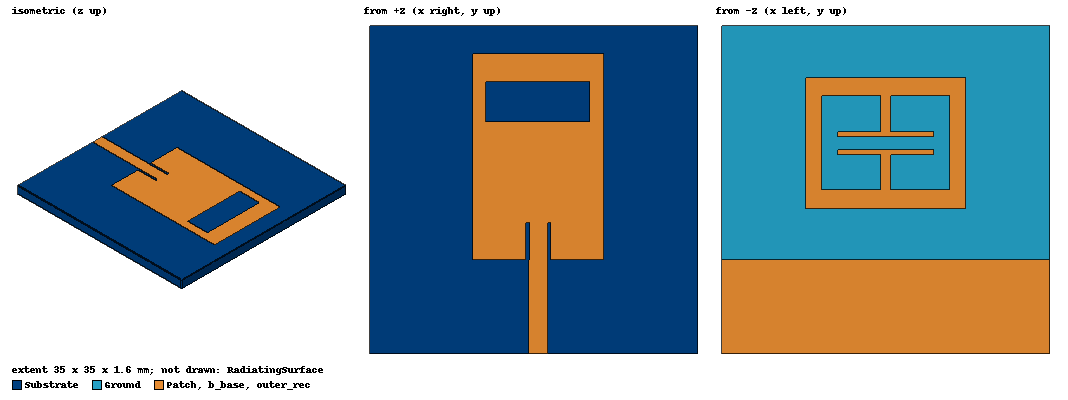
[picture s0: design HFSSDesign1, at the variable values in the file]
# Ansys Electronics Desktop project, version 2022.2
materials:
  vacuum: permittivity=1
  FR4_epoxy: permittivity=4.4 dielectric_loss_tangent=0.02
  glass_PTFEreinf: permittivity=2.5 dielectric_loss_tangent=0.002
  epoxy_Kevlar_xy: permittivity=3.6
  polystyrene: permittivity=2.6 conductivity=1e-16
  bakelite: permittivity=4.8 conductivity=1e-09 dielectric_loss_tangent=0.002
  copper: permeability=0.999991 conductivity=58000000

design HFSSDesign1 (HFSS, DrivenModal, model units mm)
options: Calculate_Lossy_Dielectrics Save_Adaptive_support_files
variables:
  inset_width = 14mm
  inset_length = 22mm
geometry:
  Ground = rectangle(corner=(0mm, 0mm, 0mm), x_size=35mm, y_size=35mm)
  Substrate [FR4_epoxy] = box(corner=(0mm, 0mm, 0mm), size=(35mm, 35mm, 1.6mm))
  Patch = rectangle(corner=(11mm, 10mm, 1.6mm), x_size=14mm, y_size=22mm)
  FEED = rectangle(corner=(17mm, 0mm, 1.6mm), x_size=2mm, y_size=14mm)
  Rectangle1 = rectangle(corner=(17mm, 0mm, 1.6mm), z_size=-1.6mm, x_size=2mm)
  RadiatingSurface [vacuum] = region(absolute_offset=28.571429mm on all sides)
  Rectangle2 = rectangle(corner=(7.75mm, 10mm, 1mm), x_size=2.45mm, y_size=4mm)
  Patch.subtract(Rectangle2)
  Patch.unite(FEED)
  b_base = rectangle(corner=(0mm, 0mm, 0mm), x_size=35mm, y_size=10mm)
  outer_rec = rectangle(corner=(9mm, 15.5mm, 0mm), x_size=17mm, y_size=14mm)
  inner_rec = rectangle(corner=(10.7mm, 17.45mm, 0mm), x_size=13.6mm, y_size=10.1mm)
  feed1 = rectangle(corner=(17mm, 17.45mm, 0mm), x_size=1mm, y_size=3.8mm)
  feed2 = rectangle(corner=(17mm, 23.7mm, 0mm), x_size=1mm, y_size=3.8mm)
  strip1 = rectangle(corner=(12.4mm, 21.25mm, 0mm), x_size=10.2mm, y_size=0.5mm)
  strip2 = rectangle(corner=(12.4mm, 23.2mm, 0mm), x_size=10.2mm, y_size=0.5mm)
  feed1.unite(strip1)
  feed2.unite(strip2)
  outer_rec.subtract(inner_rec)
  outer_rec.unite(feed2, feed1)
  Rectangle3 = rectangle(corner=(17mm, 10mm, 1mm), x_size=-0.35mm, y_size=3.928mm)
  Rectangle4 = rectangle(corner=(19mm, 10mm, 1mm), x_size=0.35mm, y_size=3.928mm)
  Patch.subtract(Rectangle3)
  Patch.subtract(Rectangle4)
  Rectangle6 = rectangle(corner=(19mm, 10mm, 1.6mm), x_size=0.35mm, y_size=3.928mm)
  Rectangle7 = rectangle(corner=(16.68mm, 10mm, 1.6mm), x_size=0.35mm, y_size=3.928mm)
  Patch.subtract(Rectangle7)
  Patch.subtract(Rectangle6)
  Rectangle8 = rectangle(corner=(12.4mm, 24.75mm, 1.6mm), x_size=11.1mm, y_size=4.25mm)
  Patch.subtract(Rectangle8)
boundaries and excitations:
  PerfE1: Perfect E Objects=Patch
  PerfE2: Perfect E Objects=[b_base, outer_rec, Ground]
  Open1: Radiation Objects=RadiatingSurface
  1: Lumped Port Objects=Rectangle1 Modes{Mode1{IntLine{(18, 0, 0) -> (18, 0, 1.6)} CharImp=Zpi RenormImp=50ohm}} Impedance=50ohm
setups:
  Setup1: HfssDrivenAuto AutoSolverSetting=Balanced Type=Interpolating
    sweep Sweep: 1GHz to 7GHz, 501 points;
  Setup2: HfssDrivenAuto AutoSolverSetting=Balanced SaveAnyFields=false Type=Interpolating
    sweep Sweep: 0GHz to 10GHz, 501 points;
  Setup3: HfssDriven Frequency=5GHz MaxDeltaS=0.02 MaximumPasses=6 MinimumPasses=1 MinimumConvergedPasses=1 PercentRefinement=30 BasisOrder=1 PortAccuracy=2 DrivenSolverType="Direct Solver"
    sweep Sweep: 2.5GHz to 7.5GHz, 401 points; Type=Interpolating InterpTolerance=0.5 InterpMaxSolns=250 InterpUsePortImped=false PassivityErrorTolerance=0.0001
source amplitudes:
  1:1: 1W 0deg
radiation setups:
  3D: Infinite Sphere Theta=0deg..180deg step 2deg Phi=-180deg..180deg step 2deg
  Elevation: Infinite Sphere Theta=-180deg..180deg step 1deg Phi=0deg..90deg step 90deg
  Azimuth: Infinite Sphere Theta=90deg..90deg step 0deg Phi=-180deg..180deg step 1deg
